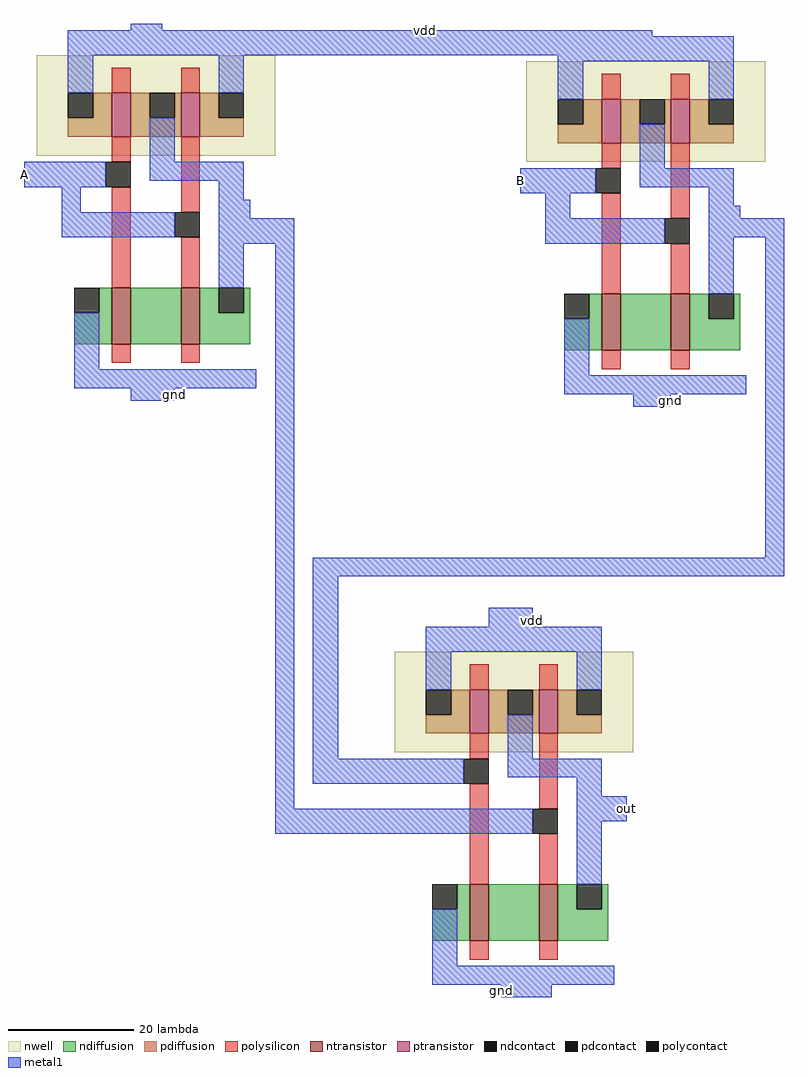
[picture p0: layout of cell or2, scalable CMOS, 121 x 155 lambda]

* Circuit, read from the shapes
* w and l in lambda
.subckt or2 A B gnd out vdd
M1 n1 A gnd VSUBS nfet w=9 l=3
M2 nand2_2/B A n1 VSUBS nfet w=9 l=3
M3 n2 nand2_2/A gnd VSUBS nfet w=9 l=3
M4 out nand2_2/B n2 VSUBS nfet w=9 l=3
M5 n3 B gnd VSUBS nfet w=9 l=3
M6 nand2_2/A B n3 VSUBS nfet w=9 l=3
M7 nand2_2/B A vdd n4 pfet w=7 l=3 m=2
M8 out nand2_2/A vdd n5 pfet w=7 l=3
M9 vdd nand2_2/B out n5 pfet w=7 l=3
M10 nand2_2/A B vdd n6 pfet w=7 l=3 m=2
.ends

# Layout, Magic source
magic
tech scmos
<< metal1 >>
rect -49 99 13 100
rect -48 96 4 99
rect -83 75 -72 79
rect -77 67 -74 75
rect -4 74 5 78
rect -49 66 -40 70
rect 0 66 4 74
rect 30 67 38 70
rect -66 41 -59 43
rect -43 -24 -40 66
rect 14 40 20 42
rect 35 16 38 67
rect -37 13 38 16
rect -37 -16 -33 13
rect -9 5 -2 8
rect -9 2 -3 5
rect -37 -20 -15 -16
rect -43 -25 -14 -24
rect -43 -28 -16 -25
rect 10 -26 13 -22
rect -7 -54 1 -52
use nand2  nand2_2
transform 1 0 -17 0 1 -29
box -7 -23 31 35
use nand2  nand2_1
transform 1 0 4 0 1 65
box -7 -23 31 35
use nand2  nand2_0
transform 1 0 -74 0 1 66
box -7 -23 31 35
<< labels >>
rlabel metal1 -19 100 -19 100 5 vdd
rlabel metal1 -2 6 -2 6 1 vdd
rlabel metal1 -59 42 -59 42 1 gnd
rlabel metal1 20 41 20 41 1 gnd
rlabel metal1 -7 -53 -7 -53 1 gnd
rlabel metal1 -83 77 -83 77 3 A
rlabel metal1 -4 76 -4 76 1 B
rlabel metal1 13 -24 13 -24 1 out
<< end >>

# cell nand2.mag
magic
tech scmos
<< nwell >>
rect -7 14 31 30
<< polysilicon >>
rect 5 24 8 28
rect 16 24 19 28
rect 5 13 8 17
rect 5 -7 8 9
rect 16 5 19 17
rect 16 -7 19 1
rect 5 -19 8 -16
rect 16 -19 19 -16
<< ndiffusion >>
rect 3 -11 5 -7
rect -1 -16 5 -11
rect 8 -16 16 -7
rect 19 -11 22 -7
rect 26 -11 27 -7
rect 19 -16 27 -11
<< pdiffusion >>
rect 2 20 5 24
rect -2 17 5 20
rect 8 20 11 24
rect 15 20 16 24
rect 8 17 16 20
rect 19 20 22 24
rect 19 17 26 20
<< metal1 >>
rect 8 34 13 35
rect -2 30 26 34
rect -2 24 2 30
rect 22 24 26 30
rect 11 13 15 20
rect -1 9 4 13
rect 11 10 26 13
rect 22 7 26 10
rect -1 1 15 5
rect 22 3 27 7
rect 22 -7 26 3
rect -1 -20 3 -11
rect -1 -23 28 -20
<< ntransistor >>
rect 5 -16 8 -7
rect 16 -16 19 -7
<< ptransistor >>
rect 5 17 8 24
rect 16 17 19 24
<< polycontact >>
rect 4 9 8 13
rect 15 1 19 5
<< ndcontact >>
rect -1 -11 3 -7
rect 22 -11 26 -7
<< pdcontact >>
rect -2 20 2 24
rect 11 20 15 24
rect 22 20 26 24
<< labels >>
rlabel metal1 -1 11 -1 11 1 A
rlabel metal1 -1 3 -1 3 1 B
rlabel metal1 27 5 27 5 7 out
rlabel metal1 10 35 10 35 5 vdd
rlabel metal1 28 -21 28 -21 8 gnd
<< end >>
